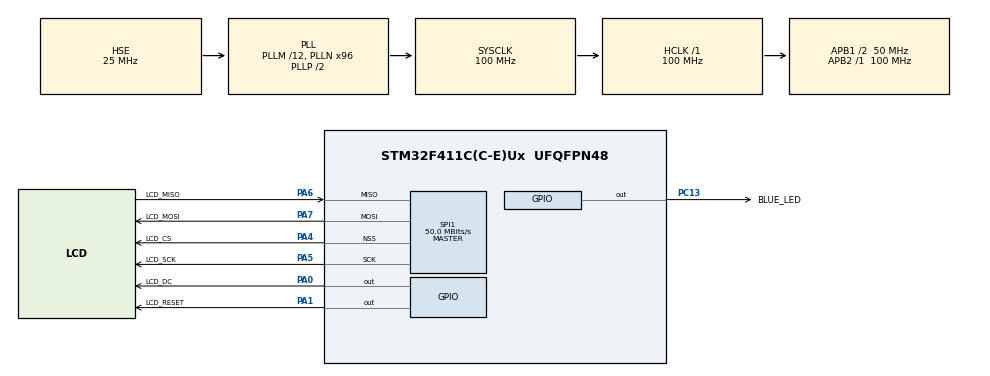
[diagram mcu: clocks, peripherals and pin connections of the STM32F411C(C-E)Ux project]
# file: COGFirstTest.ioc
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Dma.Request0=SPI1_TX
Dma.SPI1_TX.0.Direction=DMA_MEMORY_TO_PERIPH
Dma.SPI1_TX.0.FIFOMode=DMA_FIFOMODE_DISABLE
Dma.SPI1_TX.0.Instance=DMA2_Stream2
Dma.SPI1_TX.0.MemDataAlignment=DMA_MDATAALIGN_BYTE
Dma.SPI1_TX.0.MemInc=DMA_MINC_ENABLE
Dma.SPI1_TX.0.Mode=DMA_NORMAL
Dma.SPI1_TX.0.PeriphDataAlignment=DMA_PDATAALIGN_BYTE
Dma.SPI1_TX.0.PeriphInc=DMA_PINC_DISABLE
Dma.SPI1_TX.0.Priority=DMA_PRIORITY_MEDIUM
Mcu.Family=STM32F4
Mcu.Name=STM32F411C(C-E)Ux
Mcu.Package=UFQFPN48
NVIC.DMA2_Stream2_IRQn=true\:0\:0\:false\:false\:true\:false\:true\:true
NVIC.PriorityGroup=NVIC_PRIORITYGROUP_4
NVIC.SPI1_IRQn=true\:0\:0\:false\:false\:true\:true\:true\:true
PA0-WKUP.GPIO_Label=LCD_DC
PA0-WKUP.GPIO_Speed=GPIO_SPEED_FREQ_HIGH
PA0-WKUP.Signal=GPIO_Output
PA1.GPIO_Label=LCD_RESET
PA1.GPIO_Speed=GPIO_SPEED_FREQ_HIGH
PA1.Signal=GPIO_Output
PA13.Mode=Trace_Asynchronous_SW
PA13.Signal=SYS_JTMS-SWDIO
PA14.Mode=Trace_Asynchronous_SW
PA14.Signal=SYS_JTCK-SWCLK
PA4.GPIO_Label=LCD_CS
PA4.Mode=NSS_Signal_Hard_Output
PA4.Signal=SPI1_NSS
PA5.GPIO_Label=LCD_SCK
PA5.Mode=Full_Duplex_Master
PA5.Signal=SPI1_SCK
PA6.GPIO_Label=LCD_MISO
PA6.Mode=Full_Duplex_Master
PA6.Signal=SPI1_MISO
PA7.GPIO_Label=LCD_MOSI
PA7.Mode=Full_Duplex_Master
PA7.Signal=SPI1_MOSI
PB3.Mode=Trace_Asynchronous_SW
PB3.Signal=SYS_JTDO-SWO
PC13-ANTI_TAMP.GPIO_Label=BLUE_LED
PC13-ANTI_TAMP.Signal=GPIO_Output
PH0\ -\ OSC_IN.Mode=HSE-External-Oscillator
PH0\ -\ OSC_IN.Signal=RCC_OSC_IN
PH1\ -\ OSC_OUT.Mode=HSE-External-Oscillator
PH1\ -\ OSC_OUT.Signal=RCC_OSC_OUT
ProjectManager.HeapSize=0x800
ProjectManager.StackSize=0x800
ProjectManager.TargetToolchain=MDK-ARM V5.32
RCC.48MHZClocksFreq_Value=50000000
RCC.AHBFreq_Value=100000000
RCC.APB1CLKDivider=RCC_HCLK_DIV2
RCC.APB1Freq_Value=50000000
RCC.APB1TimFreq_Value=100000000
RCC.APB2Freq_Value=100000000
RCC.APB2TimFreq_Value=100000000
RCC.CortexFreq_Value=100000000
RCC.HCLKFreq_Value=100000000
RCC.HSE_VALUE=25000000
RCC.HSI_VALUE=16000000
RCC.LSE_VALUE=32768
RCC.PLLM=12
RCC.PLLN=96
RCC.PLLSourceVirtual=RCC_PLLSOURCE_HSE
RCC.SYSCLKFreq_VALUE=100000000
RCC.SYSCLKSource=RCC_SYSCLKSOURCE_PLLCLK
RCC.VCOOutputFreq_Value=200000000
SPI1.CalculateBaudRate=50.0 MBits/s
SPI1.Direction=SPI_DIRECTION_2LINES
SPI1.Mode=SPI_MODE_MASTER
SPI1.VirtualNSS=VM_NSSHARD
SPI1.VirtualType=VM_MASTER
board=custom

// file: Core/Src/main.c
/* USER CODE BEGIN Header */
/**
  ******************************************************************************
  * @file           : main.c
  * @brief          : Main program body
  ******************************************************************************
  * @attention
  *
  * Copyright (c) 2026 STMicroelectronics.
  * All rights reserved.
  *
  * This software is licensed under terms that can be found in the LICENSE file
  * in the root directory of this software component.
  * If no LICENSE file comes with this software, it is provided AS-IS.
  *
  ******************************************************************************
  */
/* USER CODE END Header */
#include "main.h"
#include "dma.h"
#include "spi.h"
#include "gpio.h"

/* USER CODE BEGIN Includes */
#include <string.h>
#include <stdio.h>
#include "st75256.h"
#include "lvgl/lvgl.h"
#include "lv_port_disp.h"
#include <math.h>
/* USER CODE END Includes */

void SystemClock_Config(void);
/* USER CODE BEGIN PFP */
extern void lv_example_industrial_monitor(void);
/* USER CODE END PFP */

/* USER CODE BEGIN 0 */
volatile uint8_t isDraw = 0;
static void set_angle(void * obj, int32_t v)
{
    lv_arc_set_value((lv_obj_t *)obj, v);
}
/* USER CODE END 0 */

int main(void)
{

  /* MCU Configuration--------------------------------------------------------*/

  /* Reset of all peripherals, Initializes the Flash interface and the Systick. */
  HAL_Init();

  /* Configure the system clock */
  SystemClock_Config();

  /* Initialize all configured peripherals */
  MX_GPIO_Init();
  MX_DMA_Init();
  MX_SPI1_Init();
  /* USER CODE BEGIN 2 */
    lv_port_disp_init();

    lv_obj_t *table = lv_table_create(lv_screen_active());
    lv_obj_set_style_text_font(table, &ui_font_terminus_12, 0);
    lv_obj_set_style_border_width(table, 1, LV_PART_MAIN);
    lv_obj_set_style_border_color(table, lv_color_black(), LV_PART_MAIN);
    lv_obj_set_style_border_side(table, LV_BORDER_SIDE_FULL, LV_PART_MAIN);
    lv_obj_set_style_outline_width(table, 0, LV_PART_MAIN);
    // Убираем padding чтобы рамка совпадала с сеткой
    lv_obj_set_style_pad_all(table, 0, LV_PART_MAIN);

    lv_table_set_cell_value(table, 0, 0, "FREQUENCY (Hs)");
    lv_table_set_cell_value(table, 0, 1, "48.1");
    lv_table_set_cell_value(table, 1, 0, "VOLTAGE (V)");
    lv_table_set_cell_value(table, 1, 1, "375");
    lv_table_set_cell_value(table, 2, 0, "CURRENT (A)");
    lv_table_set_cell_value(table, 2, 1, "17.5 (max:31.8)");
    lv_table_set_cell_value(table, 3, 0, "POWER (kVt)");
    lv_table_set_cell_value(table, 3, 1, "11.6 (max:29.4)");
    lv_table_set_cell_value(table, 4, 0, "STROKES");
    lv_table_set_cell_value(table, 4, 1, "7.92 SPM");
    lv_table_set_cell_value(table, 5, 0, "RUNNING");
    lv_table_set_cell_value(table, 5, 1, "14d 21h");
    lv_table_set_cell_value(table, 6, 0, "SIGNAL(dBm)");
    lv_table_set_cell_value(table, 6, 1, "64");

    // Ширина колонок
    lv_table_set_col_width(table, 0, 100);
    lv_table_set_col_width(table, 1, 155);
    lv_obj_align(table, LV_ALIGN_TOP_LEFT, 0, 0);

    /*
    lv_obj_t * label = lv_label_create(lv_screen_active());
    lv_obj_set_style_text_font(label, &ui_font_terminus_14, 0);
    //lv_obj_set_style_pad_all(label, 0, 0);
    lv_label_set_text(label,
    "EN: STATION STATUS: OK\n"
    "RU: НАПРЯЖЕНИЕ ЗАГРУЗКА: 68.1%\n"
    "AZ: STANSİYA VƏZİYYƏTİ\n"
    "Ə ə Ğ ğ İ ı Ö ö Ş ş Ü ü Ç ç\n"
    "1234567890\n25.6°C\n");
    lv_obj_align(label, LV_ALIGN_CENTER, 0, 0);
    */
  /* USER CODE END 2 */

  /* Infinite loop */
  /* USER CODE BEGIN WHILE */
      while (1)
      {
          lv_timer_handler();

          if(isDraw)
          {
              isDraw = 0;

          }
          HAL_Delay(5);
          HAL_GPIO_TogglePin(BLUE_LED_GPIO_Port, BLUE_LED_Pin);
    /* USER CODE END WHILE */

      }
}

void SystemClock_Config(void)
{
  RCC_OscInitTypeDef RCC_OscInitStruct = {0};
  RCC_ClkInitTypeDef RCC_ClkInitStruct = {0};

  /** Configure the main internal regulator output voltage
  */
  __HAL_RCC_PWR_CLK_ENABLE();
  __HAL_PWR_VOLTAGESCALING_CONFIG(PWR_REGULATOR_VOLTAGE_SCALE1);

  /** Initializes the RCC Oscillators according to the specified parameters
  * in the RCC_OscInitTypeDef structure.
  */
  RCC_OscInitStruct.OscillatorType = RCC_OSCILLATORTYPE_HSE;
  RCC_OscInitStruct.HSEState = RCC_HSE_ON;
  RCC_OscInitStruct.PLL.PLLState = RCC_PLL_ON;
  RCC_OscInitStruct.PLL.PLLSource = RCC_PLLSOURCE_HSE;
  RCC_OscInitStruct.PLL.PLLM = 12;
  RCC_OscInitStruct.PLL.PLLN = 96;
  RCC_OscInitStruct.PLL.PLLP = RCC_PLLP_DIV2;
  RCC_OscInitStruct.PLL.PLLQ = 4;
  if (HAL_RCC_OscConfig(&RCC_OscInitStruct) != HAL_OK)
  {
    Error_Handler();
  }

  /** Initializes the CPU, AHB and APB buses clocks
  */
  RCC_ClkInitStruct.ClockType = RCC_CLOCKTYPE_HCLK|RCC_CLOCKTYPE_SYSCLK
                              |RCC_CLOCKTYPE_PCLK1|RCC_CLOCKTYPE_PCLK2;
  RCC_ClkInitStruct.SYSCLKSource = RCC_SYSCLKSOURCE_PLLCLK;
  RCC_ClkInitStruct.AHBCLKDivider = RCC_SYSCLK_DIV1;
  RCC_ClkInitStruct.APB1CLKDivider = RCC_HCLK_DIV2;
  RCC_ClkInitStruct.APB2CLKDivider = RCC_HCLK_DIV1;

  if (HAL_RCC_ClockConfig(&RCC_ClkInitStruct, FLASH_LATENCY_3) != HAL_OK)
  {
    Error_Handler();
  }
}

void Error_Handler(void)
{
  __disable_irq();
  while (1)
  {
  }
}
